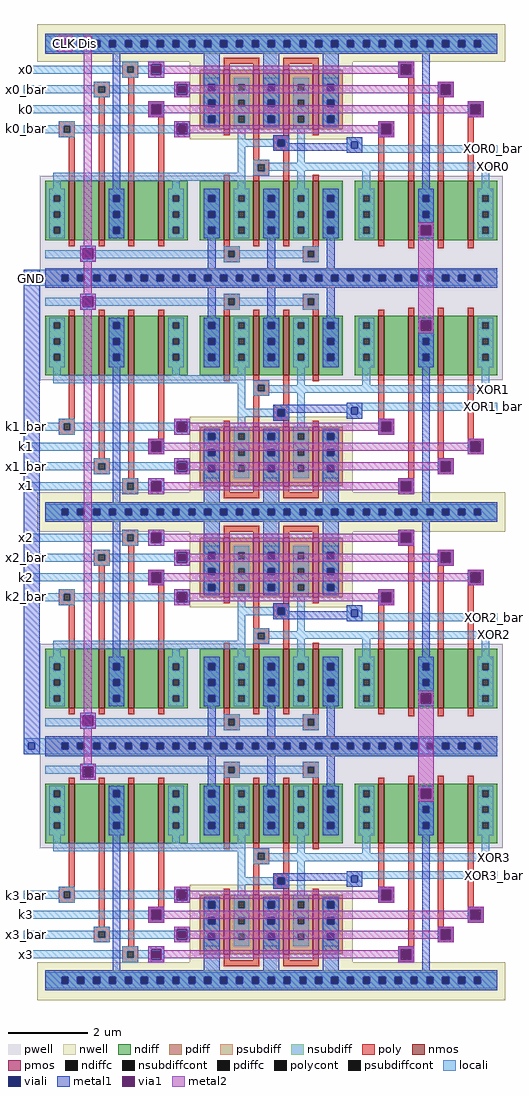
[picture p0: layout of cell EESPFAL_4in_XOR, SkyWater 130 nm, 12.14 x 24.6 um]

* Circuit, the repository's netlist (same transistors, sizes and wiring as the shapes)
* NGSPICE file created from EESPFAL_4in_XOR.ext - technology: sky130A

.subckt EESPFAL_XOR_v3 OUT A A_bar B B_bar Dis OUT_bar GND CLK
X0 CLK OUT_bar OUT CLK sky130_fd_pr__pfet_01v8 ad=2.7e+12p pd=1.26e+07u as=9e+11p ps=4.2e+06u w=1.5e+06u l=150000u M=2
X1 OUT_bar B a_n690_n412# GND sky130_fd_pr__nfet_01v8 ad=2.7e+12p pd=1.26e+07u as=9e+11p ps=4.2e+06u w=1.5e+06u l=150000u
X2 a_570_n412# B_bar OUT GND sky130_fd_pr__nfet_01v8 ad=9e+11p pd=4.2e+06u as=2.7e+12p ps=1.26e+07u w=1.5e+06u l=150000u
X3 a_n690_n412# A CLK GND sky130_fd_pr__nfet_01v8 ad=0p pd=0u as=7.5e+12p ps=3.22e+07u w=1.5e+06u l=150000u
X4 OUT_bar OUT CLK CLK sky130_fd_pr__pfet_01v8 ad=9e+11p pd=4.2e+06u as=0p ps=0u w=1.5e+06u l=150000u M=2
X5 CLK A a_570_n412# GND sky130_fd_pr__nfet_01v8 ad=0p pd=0u as=0p ps=0u w=1.5e+06u l=150000u
X6 CLK A_bar a_n990_n412# GND sky130_fd_pr__nfet_01v8 ad=0p pd=0u as=9e+11p ps=4.2e+06u w=1.5e+06u l=150000u
X7 OUT OUT_bar GND GND sky130_fd_pr__nfet_01v8 ad=0p pd=0u as=2.7e+12p ps=1.26e+07u w=1.5e+06u l=150000u
X8 a_870_n412# A_bar CLK GND sky130_fd_pr__nfet_01v8 ad=9e+11p pd=4.2e+06u as=0p ps=0u w=1.5e+06u l=150000u
X9 a_n990_n412# B_bar OUT_bar GND sky130_fd_pr__nfet_01v8 ad=0p pd=0u as=0p ps=0u w=1.5e+06u l=150000u
X10 GND OUT OUT_bar GND sky130_fd_pr__nfet_01v8 ad=0p pd=0u as=0p ps=0u w=1.5e+06u l=150000u
X11 OUT B a_870_n412# GND sky130_fd_pr__nfet_01v8 ad=0p pd=0u as=0p ps=0u w=1.5e+06u l=150000u
X12 OUT_bar Dis GND GND sky130_fd_pr__nfet_01v8 ad=0p pd=0u as=0p ps=0u w=1.5e+06u l=150000u
X13 GND Dis OUT GND sky130_fd_pr__nfet_01v8 ad=0p pd=0u as=0p ps=0u w=1.5e+06u l=150000u
.ends

.subckt EESPFAL_4in_XOR x0 x0_bar k0 k0_bar x1 x1_bar k1 k1_bar x2 x2_bar k2 k2_bar
+ x3 x3_bar k3 k3_bar XOR0_bar XOR0 XOR1_bar XOR1 XOR2_bar XOR2 XOR3_bar XOR3 GND
+ CLK Dis
XEESPFAL_XOR_v3_0 XOR3 x3 x3_bar k3 k3_bar Dis XOR3_bar GND CLK EESPFAL_XOR_v3
XEESPFAL_XOR_v3_1 XOR2 x2 x2_bar k2 k2_bar Dis XOR2_bar GND CLK EESPFAL_XOR_v3
XEESPFAL_XOR_v3_2 XOR1 x1 x1_bar k1 k1_bar Dis XOR1_bar GND CLK EESPFAL_XOR_v3
XEESPFAL_XOR_v3_3 XOR0 x0 x0_bar k0 k0_bar Dis XOR0_bar GND CLK EESPFAL_XOR_v3
.ends

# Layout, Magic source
magic
tech sky130A
magscale 1 2
<< locali >>
rect -1398 1250 -1290 1290
rect -1398 1150 -1290 1190
rect -1398 1050 -1290 1090
rect -1398 950 -1290 990
rect 960 860 980 880
rect 960 770 980 790
rect -1318 180 -1290 260
rect 961 -350 981 -330
rect 961 -440 981 -420
rect -1398 -550 -1290 -510
rect -1398 -650 -1290 -610
rect -1398 -750 -1290 -710
rect -1398 -850 -1290 -810
rect -1398 -1110 -1290 -1070
rect -1398 -1210 -1290 -1170
rect -1398 -1310 -1290 -1270
rect -1398 -1410 -1290 -1370
rect 963 -1500 983 -1480
rect 963 -1590 983 -1570
rect -1318 -2180 -1290 -2100
rect 964 -2710 984 -2690
rect 964 -2800 984 -2780
rect -1398 -2910 -1290 -2870
rect -1398 -3010 -1290 -2970
rect -1398 -3110 -1290 -3070
rect -1398 -3210 -1290 -3170
<< metal1 >>
rect -1372 206 -1344 233
rect -1398 -2100 -1318 180
<< metal2 >>
rect -1204 1386 -1176 1414
rect -1094 -2230 -1054 1440
rect 590 20 670 420
rect 590 -2340 670 -1940
use EESPFAL_XOR_v3  EESPFAL_XOR_v3_0
transform 1 0 0 0 1 0
box -1330 144 1030 1500
use EESPFAL_XOR_v3  EESPFAL_XOR_v3_1
transform 1 0 0 0 -1 440
box -1330 144 1030 1500
use EESPFAL_XOR_v3  EESPFAL_XOR_v3_2
transform 1 0 0 0 1 -2360
box -1330 144 1030 1500
use EESPFAL_XOR_v3  EESPFAL_XOR_v3_3
transform 1 0 0 0 -1 -1920
box -1330 144 1030 1500
use Li_via_M1  Li_via_M1_0
transform 1 0 -1358 0 1 218
box -40 -38 40 42
use Li_via_M1  Li_via_M1_1
transform 1 0 -1358 0 1 -2142
box -40 -38 40 42
use Li_via_M2  Li_via_M2_0
transform 1 0 -1074 0 1 98
box -40 -38 40 42
use Li_via_M2  Li_via_M2_1
transform 1 0 -1074 0 1 340
box -40 -38 40 42
use Li_via_M2  Li_via_M2_2
transform 1 0 -1074 0 1 -2014
box -40 -38 40 42
use Li_via_M2  Li_via_M2_3
transform 1 0 -1074 0 1 -2272
box -40 -38 40 42
use M1_via_M2  M1_via_M2_0
transform 1 0 -1190 0 1 1398
box -40 -38 40 42
use M1_via_M2  M1_via_M2_1
transform 1 0 630 0 1 -22
box -40 -38 40 42
use M1_via_M2  M1_via_M2_2
transform 1 0 630 0 1 458
box -40 -38 40 42
use M1_via_M2  M1_via_M2_3
transform 1 0 630 0 1 -1902
box -40 -38 40 42
use M1_via_M2  M1_via_M2_4
transform 1 0 630 0 1 -2382
box -40 -38 40 42
<< labels >>
flabel metal1 s -1372 206 -1344 233 2 FreeSans 2500 0 0 0 GND
port 1 nsew
flabel locali s -1393 1260 -1373 1280 2 FreeSans 2500 0 0 0 x0
port 2 nsew
flabel locali s -1393 1161 -1373 1181 2 FreeSans 2500 0 0 0 x0_bar
port 3 nsew
flabel locali s -1393 1060 -1373 1080 2 FreeSans 2500 0 0 0 k0
port 4 nsew
flabel locali s -1393 961 -1373 981 2 FreeSans 2500 0 0 0 k0_bar
port 5 nsew
flabel locali s -1393 -838 -1373 -818 2 FreeSans 2500 0 0 0 x1
port 6 nsew
flabel locali s -1393 -739 -1373 -719 2 FreeSans 2500 0 0 0 x1_bar
port 7 nsew
flabel locali s -1393 -638 -1373 -618 2 FreeSans 2500 0 0 0 k1
port 8 nsew
flabel locali s -1393 -539 -1373 -519 2 FreeSans 2500 0 0 0 k1_bar
port 9 nsew
flabel locali s -1393 -1099 -1373 -1079 2 FreeSans 2500 0 0 0 x2
port 10 nsew
flabel locali s -1393 -1198 -1373 -1178 2 FreeSans 2500 0 0 0 x2_bar
port 11 nsew
flabel locali s -1393 -1299 -1373 -1279 2 FreeSans 2500 0 0 0 k2
port 12 nsew
flabel locali s -1393 -1398 -1373 -1378 2 FreeSans 2500 0 0 0 k2_bar
port 13 nsew
flabel locali s -1392 -3200 -1372 -3180 2 FreeSans 2500 0 0 0 x3
port 14 nsew
flabel locali s -1392 -3101 -1372 -3081 2 FreeSans 2500 0 0 0 x3_bar
port 15 nsew
flabel locali s -1392 -3000 -1372 -2980 2 FreeSans 2500 0 0 0 k3
port 16 nsew
flabel locali s -1392 -2901 -1372 -2881 2 FreeSans 2500 0 0 0 k3_bar
port 17 nsew
flabel locali s 960 860 980 880 2 FreeSans 2500 0 0 0 XOR0_bar
port 18 nsew
flabel locali s 960 770 980 790 2 FreeSans 2500 0 0 0 XOR0
port 19 nsew
flabel locali s 961 -440 981 -420 2 FreeSans 2500 0 0 0 XOR1_bar
port 20 nsew
flabel locali s 961 -350 981 -330 2 FreeSans 2500 0 0 0 XOR1
port 21 nsew
flabel locali s 963 -1500 983 -1480 2 FreeSans 2500 0 0 0 XOR2_bar
port 22 nsew
flabel locali s 963 -1590 983 -1570 2 FreeSans 2500 0 0 0 XOR2
port 23 nsew
flabel locali s 964 -2800 984 -2780 2 FreeSans 2500 0 0 0 XOR3_bar
port 24 nsew
flabel locali s 964 -2710 984 -2690 2 FreeSans 2500 0 0 0 XOR3
port 25 nsew
flabel metal2 s -1204 1386 -1176 1414 2 FreeSans 2500 0 0 0 CLK
port 26 nsew
flabel metal2 s -1089 1384 -1059 1416 2 FreeSans 2500 0 0 0 Dis
port 27 nsew
<< end >>

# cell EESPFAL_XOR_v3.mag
magic
tech sky130A
magscale 1 2
<< nwell >>
rect -1330 1310 1030 1500
rect -560 920 260 1310
<< pwell >>
rect -1316 144 1016 736
<< nmos >>
rect -1170 410 -1140 710
rect -1020 410 -990 710
rect -870 410 -840 710
rect -720 410 -690 710
rect -390 410 -360 710
rect -240 410 -210 710
rect -90 410 -60 710
rect 60 410 90 710
rect 390 410 420 710
rect 540 410 570 710
rect 690 410 720 710
rect 840 410 870 710
<< pmos >>
rect -390 970 -360 1270
rect -240 970 -210 1270
rect -90 970 -60 1270
rect 60 970 90 1270
<< ndiff >>
rect -1290 637 -1170 710
rect -1290 603 -1247 637
rect -1213 603 -1170 637
rect -1290 557 -1170 603
rect -1290 523 -1247 557
rect -1213 523 -1170 557
rect -1290 477 -1170 523
rect -1290 443 -1247 477
rect -1213 443 -1170 477
rect -1290 410 -1170 443
rect -1140 410 -1020 710
rect -990 637 -870 710
rect -990 603 -947 637
rect -913 603 -870 637
rect -990 557 -870 603
rect -990 523 -947 557
rect -913 523 -870 557
rect -990 477 -870 523
rect -990 443 -947 477
rect -913 443 -870 477
rect -990 410 -870 443
rect -840 410 -720 710
rect -690 637 -570 710
rect -690 603 -647 637
rect -613 603 -570 637
rect -690 557 -570 603
rect -690 523 -647 557
rect -613 523 -570 557
rect -690 477 -570 523
rect -690 443 -647 477
rect -613 443 -570 477
rect -690 410 -570 443
rect -510 637 -390 710
rect -510 603 -467 637
rect -433 603 -390 637
rect -510 557 -390 603
rect -510 523 -467 557
rect -433 523 -390 557
rect -510 477 -390 523
rect -510 443 -467 477
rect -433 443 -390 477
rect -510 410 -390 443
rect -360 637 -240 710
rect -360 603 -317 637
rect -283 603 -240 637
rect -360 557 -240 603
rect -360 523 -317 557
rect -283 523 -240 557
rect -360 477 -240 523
rect -360 443 -317 477
rect -283 443 -240 477
rect -360 410 -240 443
rect -210 637 -90 710
rect -210 603 -167 637
rect -133 603 -90 637
rect -210 557 -90 603
rect -210 523 -167 557
rect -133 523 -90 557
rect -210 477 -90 523
rect -210 443 -167 477
rect -133 443 -90 477
rect -210 410 -90 443
rect -60 637 60 710
rect -60 603 -17 637
rect 17 603 60 637
rect -60 557 60 603
rect -60 523 -17 557
rect 17 523 60 557
rect -60 477 60 523
rect -60 443 -17 477
rect 17 443 60 477
rect -60 410 60 443
rect 90 637 210 710
rect 90 603 133 637
rect 167 603 210 637
rect 90 557 210 603
rect 90 523 133 557
rect 167 523 210 557
rect 90 477 210 523
rect 90 443 133 477
rect 167 443 210 477
rect 90 410 210 443
rect 270 637 390 710
rect 270 603 313 637
rect 347 603 390 637
rect 270 557 390 603
rect 270 523 313 557
rect 347 523 390 557
rect 270 477 390 523
rect 270 443 313 477
rect 347 443 390 477
rect 270 410 390 443
rect 420 410 540 710
rect 570 637 690 710
rect 570 603 613 637
rect 647 603 690 637
rect 570 557 690 603
rect 570 523 613 557
rect 647 523 690 557
rect 570 477 690 523
rect 570 443 613 477
rect 647 443 690 477
rect 570 410 690 443
rect 720 410 840 710
rect 870 637 990 710
rect 870 603 913 637
rect 947 603 990 637
rect 870 557 990 603
rect 870 523 913 557
rect 947 523 990 557
rect 870 477 990 523
rect 870 443 913 477
rect 947 443 990 477
rect 870 410 990 443
<< pdiff >>
rect -510 1197 -390 1270
rect -510 1163 -467 1197
rect -433 1163 -390 1197
rect -510 1117 -390 1163
rect -510 1083 -467 1117
rect -433 1083 -390 1117
rect -510 1037 -390 1083
rect -510 1003 -467 1037
rect -433 1003 -390 1037
rect -510 970 -390 1003
rect -360 1197 -240 1270
rect -360 1163 -317 1197
rect -283 1163 -240 1197
rect -360 1117 -240 1163
rect -360 1083 -317 1117
rect -283 1083 -240 1117
rect -360 1037 -240 1083
rect -360 1003 -317 1037
rect -283 1003 -240 1037
rect -360 970 -240 1003
rect -210 1197 -90 1270
rect -210 1163 -167 1197
rect -133 1163 -90 1197
rect -210 1117 -90 1163
rect -210 1083 -167 1117
rect -133 1083 -90 1117
rect -210 1037 -90 1083
rect -210 1003 -167 1037
rect -133 1003 -90 1037
rect -210 970 -90 1003
rect -60 1197 60 1270
rect -60 1163 -17 1197
rect 17 1163 60 1197
rect -60 1117 60 1163
rect -60 1083 -17 1117
rect 17 1083 60 1117
rect -60 1037 60 1083
rect -60 1003 -17 1037
rect 17 1003 60 1037
rect -60 970 60 1003
rect 90 1197 210 1270
rect 90 1163 133 1197
rect 167 1163 210 1197
rect 90 1117 210 1163
rect 90 1083 133 1117
rect 167 1083 210 1117
rect 90 1037 210 1083
rect 90 1003 133 1037
rect 167 1003 210 1037
rect 90 970 210 1003
<< ndiffc >>
rect -1247 603 -1213 637
rect -1247 523 -1213 557
rect -1247 443 -1213 477
rect -947 603 -913 637
rect -947 523 -913 557
rect -947 443 -913 477
rect -647 603 -613 637
rect -647 523 -613 557
rect -647 443 -613 477
rect -467 603 -433 637
rect -467 523 -433 557
rect -467 443 -433 477
rect -317 603 -283 637
rect -317 523 -283 557
rect -317 443 -283 477
rect -167 603 -133 637
rect -167 523 -133 557
rect -167 443 -133 477
rect -17 603 17 637
rect -17 523 17 557
rect -17 443 17 477
rect 133 603 167 637
rect 133 523 167 557
rect 133 443 167 477
rect 313 603 347 637
rect 313 523 347 557
rect 313 443 347 477
rect 613 603 647 637
rect 613 523 647 557
rect 613 443 647 477
rect 913 603 947 637
rect 913 523 947 557
rect 913 443 947 477
<< pdiffc >>
rect -467 1163 -433 1197
rect -467 1083 -433 1117
rect -467 1003 -433 1037
rect -317 1163 -283 1197
rect -317 1083 -283 1117
rect -317 1003 -283 1037
rect -167 1163 -133 1197
rect -167 1083 -133 1117
rect -167 1003 -133 1037
rect -17 1163 17 1197
rect -17 1083 17 1117
rect -17 1003 17 1037
rect 133 1163 167 1197
rect 133 1083 167 1117
rect 133 1003 167 1037
<< psubdiff >>
rect -1290 237 990 270
rect -1290 203 -1207 237
rect -1173 203 -1127 237
rect -1093 203 -1047 237
rect -1013 203 -967 237
rect -933 203 -887 237
rect -853 203 -807 237
rect -773 203 -727 237
rect -693 203 -647 237
rect -613 203 -567 237
rect -533 203 -487 237
rect -453 203 -407 237
rect -373 203 -327 237
rect -293 203 -247 237
rect -213 203 -167 237
rect -133 203 -87 237
rect -53 203 -7 237
rect 27 203 73 237
rect 107 203 153 237
rect 187 203 233 237
rect 267 203 313 237
rect 347 203 393 237
rect 427 203 473 237
rect 507 203 553 237
rect 587 203 633 237
rect 667 203 713 237
rect 747 203 793 237
rect 827 203 873 237
rect 907 203 990 237
rect -1290 170 990 203
<< nsubdiff >>
rect -1290 1417 990 1450
rect -1290 1383 -1207 1417
rect -1173 1383 -1127 1417
rect -1093 1383 -1047 1417
rect -1013 1383 -967 1417
rect -933 1383 -887 1417
rect -853 1383 -807 1417
rect -773 1383 -727 1417
rect -693 1383 -647 1417
rect -613 1383 -567 1417
rect -533 1383 -487 1417
rect -453 1383 -407 1417
rect -373 1383 -327 1417
rect -293 1383 -247 1417
rect -213 1383 -167 1417
rect -133 1383 -87 1417
rect -53 1383 -7 1417
rect 27 1383 73 1417
rect 107 1383 153 1417
rect 187 1383 233 1417
rect 267 1383 313 1417
rect 347 1383 393 1417
rect 427 1383 473 1417
rect 507 1383 553 1417
rect 587 1383 633 1417
rect 667 1383 713 1417
rect 747 1383 793 1417
rect 827 1383 873 1417
rect 907 1383 990 1417
rect -1290 1350 990 1383
<< psubdiffcont >>
rect -1207 203 -1173 237
rect -1127 203 -1093 237
rect -1047 203 -1013 237
rect -967 203 -933 237
rect -887 203 -853 237
rect -807 203 -773 237
rect -727 203 -693 237
rect -647 203 -613 237
rect -567 203 -533 237
rect -487 203 -453 237
rect -407 203 -373 237
rect -327 203 -293 237
rect -247 203 -213 237
rect -167 203 -133 237
rect -87 203 -53 237
rect -7 203 27 237
rect 73 203 107 237
rect 153 203 187 237
rect 233 203 267 237
rect 313 203 347 237
rect 393 203 427 237
rect 473 203 507 237
rect 553 203 587 237
rect 633 203 667 237
rect 713 203 747 237
rect 793 203 827 237
rect 873 203 907 237
<< nsubdiffcont >>
rect -1207 1383 -1173 1417
rect -1127 1383 -1093 1417
rect -1047 1383 -1013 1417
rect -967 1383 -933 1417
rect -887 1383 -853 1417
rect -807 1383 -773 1417
rect -727 1383 -693 1417
rect -647 1383 -613 1417
rect -567 1383 -533 1417
rect -487 1383 -453 1417
rect -407 1383 -373 1417
rect -327 1383 -293 1417
rect -247 1383 -213 1417
rect -167 1383 -133 1417
rect -87 1383 -53 1417
rect -7 1383 27 1417
rect 73 1383 107 1417
rect 153 1383 187 1417
rect 233 1383 267 1417
rect 313 1383 347 1417
rect 393 1383 427 1417
rect 473 1383 507 1417
rect 553 1383 587 1417
rect 633 1383 667 1417
rect 713 1383 747 1417
rect 793 1383 827 1417
rect 873 1383 907 1417
<< poly >>
rect -900 1287 -820 1310
rect -900 1253 -877 1287
rect -843 1253 -820 1287
rect -390 1300 -210 1330
rect -390 1270 -360 1300
rect -240 1270 -210 1300
rect -90 1300 90 1330
rect -90 1270 -60 1300
rect 60 1270 90 1300
rect 490 1287 570 1310
rect -900 1230 -820 1253
rect -1045 1187 -965 1210
rect -1045 1153 -1022 1187
rect -988 1153 -965 1187
rect -1045 1130 -965 1153
rect -1220 987 -1140 1010
rect -1220 953 -1197 987
rect -1163 953 -1140 987
rect -1220 930 -1140 953
rect -1170 710 -1140 930
rect -1020 710 -990 1130
rect -870 710 -840 1230
rect -770 1087 -690 1110
rect -770 1053 -747 1087
rect -713 1053 -690 1087
rect -770 1030 -690 1053
rect -720 710 -690 1030
rect 490 1253 513 1287
rect 547 1253 570 1287
rect 490 1230 570 1253
rect 390 987 470 1010
rect -390 940 -360 970
rect -240 815 -210 970
rect -90 940 -60 970
rect 60 940 90 970
rect 390 953 413 987
rect 447 953 470 987
rect -140 917 -60 940
rect -140 883 -117 917
rect -83 883 -60 917
rect -140 860 -60 883
rect -240 792 -160 815
rect -240 758 -217 792
rect -183 758 -160 792
rect -390 710 -360 740
rect -240 735 -160 758
rect -240 710 -210 735
rect -90 710 -60 860
rect 390 930 470 953
rect 60 710 90 740
rect 390 710 420 930
rect 540 710 570 1230
rect 690 1187 770 1210
rect 690 1153 713 1187
rect 747 1153 770 1187
rect 690 1130 770 1153
rect 690 710 720 1130
rect 840 1087 920 1110
rect 840 1053 863 1087
rect 897 1053 920 1087
rect 840 1030 920 1053
rect 840 710 870 1030
rect -1170 380 -1140 410
rect -1020 380 -990 410
rect -870 380 -840 410
rect -720 380 -690 410
rect -390 380 -360 410
rect -240 380 -210 410
rect -90 380 -60 410
rect 60 380 90 410
rect 390 380 420 410
rect -390 357 -310 380
rect -390 323 -367 357
rect -333 323 -310 357
rect -390 300 -310 323
rect 10 357 90 380
rect 540 370 570 410
rect 690 370 720 410
rect 840 370 870 410
rect 10 323 33 357
rect 67 323 90 357
rect 10 300 90 323
<< polycont >>
rect -877 1253 -843 1287
rect -1022 1153 -988 1187
rect -1197 953 -1163 987
rect -747 1053 -713 1087
rect 513 1253 547 1287
rect 413 953 447 987
rect -117 883 -83 917
rect -217 758 -183 792
rect 713 1153 747 1187
rect 863 1053 897 1087
rect -367 323 -333 357
rect 33 323 67 357
<< locali >>
rect -1290 1417 990 1440
rect -1290 1383 -1207 1417
rect -1173 1383 -1127 1417
rect -1093 1383 -1047 1417
rect -1013 1383 -967 1417
rect -933 1383 -887 1417
rect -853 1383 -807 1417
rect -773 1383 -727 1417
rect -693 1383 -647 1417
rect -613 1383 -567 1417
rect -533 1383 -487 1417
rect -453 1383 -407 1417
rect -373 1383 -327 1417
rect -293 1383 -247 1417
rect -213 1383 -167 1417
rect -133 1383 -87 1417
rect -53 1383 -7 1417
rect 27 1383 73 1417
rect 107 1383 153 1417
rect 187 1383 233 1417
rect 267 1383 313 1417
rect 347 1383 393 1417
rect 427 1383 473 1417
rect 507 1383 553 1417
rect 587 1383 633 1417
rect 667 1383 713 1417
rect 747 1383 793 1417
rect 827 1383 873 1417
rect 907 1383 990 1417
rect -1290 1360 990 1383
rect -900 1290 -820 1310
rect -770 1290 -690 1310
rect -1290 1287 -690 1290
rect -1290 1253 -877 1287
rect -843 1253 -747 1287
rect -713 1253 -690 1287
rect -1290 1250 -690 1253
rect -900 1230 -820 1250
rect -770 1230 -690 1250
rect 490 1287 570 1310
rect 490 1253 513 1287
rect 547 1253 570 1287
rect 490 1230 570 1253
rect -1045 1190 -965 1210
rect -640 1190 -560 1210
rect -1290 1187 -560 1190
rect -1290 1153 -1022 1187
rect -988 1153 -617 1187
rect -583 1153 -560 1187
rect -1290 1150 -560 1153
rect -1045 1130 -965 1150
rect -640 1130 -560 1150
rect -490 1197 -410 1230
rect -490 1163 -467 1197
rect -433 1163 -410 1197
rect -490 1117 -410 1163
rect -770 1090 -690 1110
rect -1290 1087 -690 1090
rect -1290 1053 -747 1087
rect -713 1053 -690 1087
rect -1290 1050 -690 1053
rect -770 1030 -690 1050
rect -490 1083 -467 1117
rect -433 1083 -410 1117
rect -490 1037 -410 1083
rect -1220 990 -1140 1010
rect -640 990 -560 1010
rect -1290 987 -560 990
rect -1290 953 -1197 987
rect -1163 953 -617 987
rect -583 953 -560 987
rect -490 1003 -467 1037
rect -433 1003 -410 1037
rect -490 980 -410 1003
rect -340 1197 -260 1230
rect -340 1163 -317 1197
rect -283 1163 -260 1197
rect -340 1117 -260 1163
rect -340 1083 -317 1117
rect -283 1083 -260 1117
rect -340 1037 -260 1083
rect -340 1003 -317 1037
rect -283 1003 -260 1037
rect -340 970 -260 1003
rect -190 1197 -110 1230
rect -190 1163 -167 1197
rect -133 1163 -110 1197
rect -190 1117 -110 1163
rect -190 1083 -167 1117
rect -133 1083 -110 1117
rect -190 1037 -110 1083
rect -190 1003 -167 1037
rect -133 1003 -110 1037
rect -190 980 -110 1003
rect -40 1197 40 1230
rect -40 1163 -17 1197
rect 17 1163 40 1197
rect -40 1117 40 1163
rect -40 1083 -17 1117
rect 17 1083 40 1117
rect -40 1037 40 1083
rect -40 1003 -17 1037
rect 17 1003 40 1037
rect -40 970 40 1003
rect 110 1197 190 1230
rect 110 1163 133 1197
rect 167 1163 190 1197
rect 110 1117 190 1163
rect 690 1187 770 1210
rect 690 1153 713 1187
rect 747 1153 770 1187
rect 690 1130 770 1153
rect 110 1083 133 1117
rect 167 1083 190 1117
rect 110 1037 190 1083
rect 110 1003 133 1037
rect 167 1003 190 1037
rect 840 1087 920 1110
rect 840 1053 863 1087
rect 897 1053 920 1087
rect 840 1030 920 1053
rect 110 980 190 1003
rect 390 987 470 1010
rect -1290 950 -560 953
rect -1220 930 -1140 950
rect -640 930 -560 950
rect -320 920 -280 970
rect -140 920 -60 940
rect -320 917 -60 920
rect -320 883 -117 917
rect -83 883 -60 917
rect -320 880 -60 883
rect -320 750 -280 880
rect -140 860 -60 880
rect -1250 710 -280 750
rect -240 800 -160 815
rect -20 800 20 970
rect 390 953 413 987
rect 447 953 470 987
rect 390 930 470 953
rect 230 907 310 930
rect 230 873 253 907
rect 287 890 310 907
rect 287 873 990 890
rect 230 850 990 873
rect -240 792 990 800
rect -240 758 -217 792
rect -183 760 990 792
rect -183 758 -160 760
rect -240 735 -160 758
rect -1250 670 -1210 710
rect -650 670 -610 710
rect -320 670 -280 710
rect -20 670 20 760
rect 310 670 350 760
rect 910 670 950 760
rect -1270 637 -1190 670
rect -1270 603 -1247 637
rect -1213 603 -1190 637
rect -1270 557 -1190 603
rect -1270 523 -1247 557
rect -1213 523 -1190 557
rect -1270 477 -1190 523
rect -1270 443 -1247 477
rect -1213 443 -1190 477
rect -1270 420 -1190 443
rect -970 637 -890 670
rect -970 603 -947 637
rect -913 603 -890 637
rect -970 557 -890 603
rect -970 523 -947 557
rect -913 523 -890 557
rect -970 477 -890 523
rect -970 443 -947 477
rect -913 443 -890 477
rect -970 420 -890 443
rect -670 637 -590 670
rect -670 603 -647 637
rect -613 603 -590 637
rect -670 557 -590 603
rect -670 523 -647 557
rect -613 523 -590 557
rect -670 477 -590 523
rect -670 443 -647 477
rect -613 443 -590 477
rect -670 420 -590 443
rect -490 637 -410 670
rect -490 603 -467 637
rect -433 603 -410 637
rect -490 557 -410 603
rect -490 523 -467 557
rect -433 523 -410 557
rect -490 477 -410 523
rect -490 443 -467 477
rect -433 443 -410 477
rect -490 420 -410 443
rect -340 637 -260 670
rect -340 603 -317 637
rect -283 603 -260 637
rect -340 557 -260 603
rect -340 523 -317 557
rect -283 523 -260 557
rect -340 477 -260 523
rect -340 443 -317 477
rect -283 443 -260 477
rect -340 420 -260 443
rect -190 637 -110 670
rect -190 603 -167 637
rect -133 603 -110 637
rect -190 557 -110 603
rect -190 523 -167 557
rect -133 523 -110 557
rect -190 477 -110 523
rect -190 443 -167 477
rect -133 443 -110 477
rect -190 420 -110 443
rect -40 637 40 670
rect -40 603 -17 637
rect 17 603 40 637
rect -40 557 40 603
rect -40 523 -17 557
rect 17 523 40 557
rect -40 477 40 523
rect -40 443 -17 477
rect 17 443 40 477
rect -40 420 40 443
rect 110 637 190 670
rect 110 603 133 637
rect 167 603 190 637
rect 110 557 190 603
rect 110 523 133 557
rect 167 523 190 557
rect 110 477 190 523
rect 110 443 133 477
rect 167 443 190 477
rect 110 420 190 443
rect 290 637 370 670
rect 290 603 313 637
rect 347 603 370 637
rect 290 557 370 603
rect 290 523 313 557
rect 347 523 370 557
rect 290 477 370 523
rect 290 443 313 477
rect 347 443 370 477
rect 290 420 370 443
rect 590 637 670 670
rect 590 603 613 637
rect 647 603 670 637
rect 590 557 670 603
rect 590 523 613 557
rect 647 523 670 557
rect 590 477 670 523
rect 590 443 613 477
rect 647 443 670 477
rect 590 420 670 443
rect 890 637 970 670
rect 890 603 913 637
rect 947 603 970 637
rect 890 557 970 603
rect 890 523 913 557
rect 947 523 970 557
rect 890 477 970 523
rect 890 443 913 477
rect 947 443 970 477
rect 890 420 970 443
rect -390 360 -310 380
rect 10 360 90 380
rect -1290 357 90 360
rect -1290 323 -367 357
rect -333 323 33 357
rect 67 323 90 357
rect -1290 320 90 323
rect -390 300 -310 320
rect 10 300 90 320
rect -1290 237 990 260
rect -1290 203 -1207 237
rect -1173 203 -1127 237
rect -1093 203 -1047 237
rect -1013 203 -967 237
rect -933 203 -887 237
rect -853 203 -807 237
rect -773 203 -727 237
rect -693 203 -647 237
rect -613 203 -567 237
rect -533 203 -487 237
rect -453 203 -407 237
rect -373 203 -327 237
rect -293 203 -247 237
rect -213 203 -167 237
rect -133 203 -87 237
rect -53 203 -7 237
rect 27 203 73 237
rect 107 203 153 237
rect 187 203 233 237
rect 267 203 313 237
rect 347 203 393 237
rect 427 203 473 237
rect 507 203 553 237
rect 587 203 633 237
rect 667 203 713 237
rect 747 203 793 237
rect 827 203 873 237
rect 907 203 990 237
rect -1290 180 990 203
<< viali >>
rect -1207 1383 -1173 1417
rect -1127 1383 -1093 1417
rect -1047 1383 -1013 1417
rect -967 1383 -933 1417
rect -887 1383 -853 1417
rect -807 1383 -773 1417
rect -727 1383 -693 1417
rect -647 1383 -613 1417
rect -567 1383 -533 1417
rect -487 1383 -453 1417
rect -407 1383 -373 1417
rect -327 1383 -293 1417
rect -247 1383 -213 1417
rect -167 1383 -133 1417
rect -87 1383 -53 1417
rect -7 1383 27 1417
rect 73 1383 107 1417
rect 153 1383 187 1417
rect 233 1383 267 1417
rect 313 1383 347 1417
rect 393 1383 427 1417
rect 473 1383 507 1417
rect 553 1383 587 1417
rect 633 1383 667 1417
rect 713 1383 747 1417
rect 793 1383 827 1417
rect 873 1383 907 1417
rect -747 1253 -713 1287
rect 513 1253 547 1287
rect -617 1153 -583 1187
rect -467 1163 -433 1197
rect -747 1053 -713 1087
rect -467 1083 -433 1117
rect -617 953 -583 987
rect -467 1003 -433 1037
rect -167 1163 -133 1197
rect -167 1083 -133 1117
rect -167 1003 -133 1037
rect 133 1163 167 1197
rect 713 1153 747 1187
rect 133 1083 167 1117
rect 133 1003 167 1037
rect 863 1053 897 1087
rect -117 883 -83 917
rect 413 953 447 987
rect 253 873 287 907
rect -947 603 -913 637
rect -947 523 -913 557
rect -947 443 -913 477
rect -467 603 -433 637
rect -467 523 -433 557
rect -467 443 -433 477
rect -167 603 -133 637
rect -167 523 -133 557
rect -167 443 -133 477
rect 133 603 167 637
rect 133 523 167 557
rect 133 443 167 477
rect 613 603 647 637
rect 613 523 647 557
rect 613 443 647 477
rect -1207 203 -1173 237
rect -1127 203 -1093 237
rect -1047 203 -1013 237
rect -967 203 -933 237
rect -887 203 -853 237
rect -807 203 -773 237
rect -727 203 -693 237
rect -647 203 -613 237
rect -567 203 -533 237
rect -487 203 -453 237
rect -407 203 -373 237
rect -327 203 -293 237
rect -247 203 -213 237
rect -167 203 -133 237
rect -87 203 -53 237
rect -7 203 27 237
rect 73 203 107 237
rect 153 203 187 237
rect 233 203 267 237
rect 313 203 347 237
rect 393 203 427 237
rect 473 203 507 237
rect 553 203 587 237
rect 633 203 667 237
rect 713 203 747 237
rect 793 203 827 237
rect 873 203 907 237
<< metal1 >>
rect -1290 1417 990 1450
rect -1290 1383 -1207 1417
rect -1173 1383 -1127 1417
rect -1093 1383 -1047 1417
rect -1013 1383 -967 1417
rect -933 1383 -887 1417
rect -853 1383 -807 1417
rect -773 1383 -727 1417
rect -693 1383 -647 1417
rect -613 1383 -567 1417
rect -533 1383 -487 1417
rect -453 1383 -407 1417
rect -373 1383 -327 1417
rect -293 1383 -247 1417
rect -213 1383 -167 1417
rect -133 1383 -87 1417
rect -53 1383 -7 1417
rect 27 1383 73 1417
rect 107 1383 153 1417
rect 187 1383 233 1417
rect 267 1383 313 1417
rect 347 1383 393 1417
rect 427 1383 473 1417
rect 507 1383 553 1417
rect 587 1383 633 1417
rect 667 1383 713 1417
rect 747 1383 793 1417
rect 827 1383 873 1417
rect 907 1383 990 1417
rect -1290 1350 990 1383
rect -950 670 -910 1350
rect -770 1296 -690 1310
rect -770 1244 -756 1296
rect -704 1244 -690 1296
rect -770 1230 -690 1244
rect -640 1196 -560 1210
rect -640 1144 -626 1196
rect -574 1144 -560 1196
rect -640 1130 -560 1144
rect -490 1197 -410 1350
rect -490 1163 -467 1197
rect -433 1163 -410 1197
rect -490 1117 -410 1163
rect -770 1096 -690 1110
rect -770 1044 -756 1096
rect -704 1044 -690 1096
rect -770 1030 -690 1044
rect -490 1083 -467 1117
rect -433 1083 -410 1117
rect -490 1037 -410 1083
rect -640 996 -560 1010
rect -640 944 -626 996
rect -574 944 -560 996
rect -490 1003 -467 1037
rect -433 1003 -410 1037
rect -490 980 -410 1003
rect -190 1197 -110 1350
rect -190 1163 -167 1197
rect -133 1163 -110 1197
rect -190 1117 -110 1163
rect -190 1083 -167 1117
rect -133 1083 -110 1117
rect -190 1037 -110 1083
rect -190 1003 -167 1037
rect -133 1003 -110 1037
rect -190 980 -110 1003
rect 110 1197 190 1350
rect 490 1296 570 1310
rect 490 1244 504 1296
rect 556 1244 570 1296
rect 490 1230 570 1244
rect 110 1163 133 1197
rect 167 1163 190 1197
rect 110 1117 190 1163
rect 110 1083 133 1117
rect 167 1083 190 1117
rect 110 1037 190 1083
rect 110 1003 133 1037
rect 167 1003 190 1037
rect 110 980 190 1003
rect 390 996 470 1010
rect -640 930 -560 944
rect 390 944 404 996
rect 456 944 470 996
rect -140 917 -60 940
rect 390 930 470 944
rect -140 883 -117 917
rect -83 900 -60 917
rect 230 907 310 930
rect 230 900 253 907
rect -83 883 253 900
rect -140 873 253 883
rect 287 873 310 907
rect -140 860 310 873
rect 230 850 310 860
rect 610 670 650 1350
rect 690 1196 770 1210
rect 690 1144 704 1196
rect 756 1144 770 1196
rect 690 1130 770 1144
rect 840 1096 920 1110
rect 840 1044 854 1096
rect 906 1044 920 1096
rect 840 1030 920 1044
rect -970 637 -890 670
rect -970 603 -947 637
rect -913 603 -890 637
rect -970 557 -890 603
rect -970 523 -947 557
rect -913 523 -890 557
rect -970 477 -890 523
rect -970 443 -947 477
rect -913 443 -890 477
rect -970 420 -890 443
rect -490 637 -410 670
rect -490 603 -467 637
rect -433 603 -410 637
rect -490 557 -410 603
rect -490 523 -467 557
rect -433 523 -410 557
rect -490 477 -410 523
rect -490 443 -467 477
rect -433 443 -410 477
rect -490 420 -410 443
rect -190 637 -110 670
rect -190 603 -167 637
rect -133 603 -110 637
rect -190 557 -110 603
rect -190 523 -167 557
rect -133 523 -110 557
rect -190 477 -110 523
rect -190 443 -167 477
rect -133 443 -110 477
rect -190 420 -110 443
rect 110 637 190 670
rect 110 603 133 637
rect 167 603 190 637
rect 110 557 190 603
rect 110 523 133 557
rect 167 523 190 557
rect 110 477 190 523
rect 110 443 133 477
rect 167 443 190 477
rect 110 420 190 443
rect 590 637 670 670
rect 590 603 613 637
rect 647 603 670 637
rect 590 557 670 603
rect 590 523 613 557
rect 647 523 670 557
rect 590 477 670 523
rect 590 443 613 477
rect 647 443 670 477
rect 590 420 670 443
rect -470 270 -430 420
rect -170 270 -130 420
rect 130 270 170 420
rect -1290 237 990 270
rect -1290 203 -1207 237
rect -1173 203 -1127 237
rect -1093 203 -1047 237
rect -1013 203 -967 237
rect -933 203 -887 237
rect -853 203 -807 237
rect -773 203 -727 237
rect -693 203 -647 237
rect -613 203 -567 237
rect -533 203 -487 237
rect -453 203 -407 237
rect -373 203 -327 237
rect -293 203 -247 237
rect -213 203 -167 237
rect -133 203 -87 237
rect -53 203 -7 237
rect 27 203 73 237
rect 107 203 153 237
rect 187 203 233 237
rect 267 203 313 237
rect 347 203 393 237
rect 427 203 473 237
rect 507 203 553 237
rect 587 203 633 237
rect 667 203 713 237
rect 747 203 793 237
rect 827 203 873 237
rect 907 203 990 237
rect -1290 170 990 203
<< via1 >>
rect -756 1287 -704 1296
rect -756 1253 -747 1287
rect -747 1253 -713 1287
rect -713 1253 -704 1287
rect -756 1244 -704 1253
rect -626 1187 -574 1196
rect -626 1153 -617 1187
rect -617 1153 -583 1187
rect -583 1153 -574 1187
rect -626 1144 -574 1153
rect -756 1087 -704 1096
rect -756 1053 -747 1087
rect -747 1053 -713 1087
rect -713 1053 -704 1087
rect -756 1044 -704 1053
rect -626 987 -574 996
rect -626 953 -617 987
rect -617 953 -583 987
rect -583 953 -574 987
rect -626 944 -574 953
rect 504 1287 556 1296
rect 504 1253 513 1287
rect 513 1253 547 1287
rect 547 1253 556 1287
rect 504 1244 556 1253
rect 404 987 456 996
rect 404 953 413 987
rect 413 953 447 987
rect 447 953 456 987
rect 404 944 456 953
rect 704 1187 756 1196
rect 704 1153 713 1187
rect 713 1153 747 1187
rect 747 1153 756 1187
rect 704 1144 756 1153
rect 854 1087 906 1096
rect 854 1053 863 1087
rect 863 1053 897 1087
rect 897 1053 906 1087
rect 854 1044 906 1053
<< metal2 >>
rect -770 1296 -690 1310
rect -770 1244 -756 1296
rect -704 1290 -690 1296
rect 490 1296 570 1310
rect 490 1290 504 1296
rect -704 1250 504 1290
rect -704 1244 -690 1250
rect -770 1230 -690 1244
rect 490 1244 504 1250
rect 556 1244 570 1296
rect 490 1230 570 1244
rect -640 1196 -560 1210
rect -640 1144 -626 1196
rect -574 1190 -560 1196
rect 690 1196 770 1210
rect 690 1190 704 1196
rect -574 1150 704 1190
rect -574 1144 -560 1150
rect -640 1130 -560 1144
rect 690 1144 704 1150
rect 756 1144 770 1196
rect 690 1130 770 1144
rect -770 1096 -690 1110
rect -770 1044 -756 1096
rect -704 1090 -690 1096
rect 840 1096 920 1110
rect 840 1090 854 1096
rect -704 1050 854 1090
rect -704 1044 -690 1050
rect -770 1030 -690 1044
rect 840 1044 854 1050
rect 906 1044 920 1096
rect 840 1030 920 1044
rect -640 996 -560 1010
rect -640 944 -626 996
rect -574 990 -560 996
rect 390 996 470 1010
rect 390 990 404 996
rect -574 950 404 990
rect -574 944 -560 950
rect -640 930 -560 944
rect 390 944 404 950
rect 456 944 470 996
rect 390 930 470 944
<< labels >>
rlabel metal1 s -120 880 -80 920 4 OUT_bar
port 1 nsew
rlabel metal1 s -170 200 -130 240 4 GND!
port 2 nsew
rlabel metal1 s -170 1380 -130 1420 4 CLK
port 3 nsew
rlabel locali s -220 755 -180 795 4 OUT
port 4 nsew
rlabel locali s -1280 1260 -1260 1280 4 A
port 5 nsew
rlabel locali s -1280 1160 -1260 1180 4 A_bar
port 6 nsew
rlabel locali s -1280 1060 -1260 1080 4 B
port 7 nsew
rlabel locali s -1280 960 -1260 980 4 B_bar
port 8 nsew
rlabel locali s -370 320 -330 360 4 Dis
port 9 nsew
<< end >>

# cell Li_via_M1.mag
magic
tech sky130A
magscale 1 2
<< locali >>
rect -40 19 40 42
rect -40 -15 -17 19
rect 17 -15 40 19
rect -40 -38 40 -15
<< viali >>
rect -17 -15 17 19
<< metal1 >>
rect -40 19 40 42
rect -40 -15 -17 19
rect 17 -15 40 19
rect -40 -38 40 -15
<< end >>

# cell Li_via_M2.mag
magic
tech sky130A
magscale 1 2
<< locali >>
rect -40 19 40 42
rect -40 -15 -17 19
rect 17 -15 40 19
rect -40 -38 40 -15
<< viali >>
rect -17 -15 17 19
<< metal1 >>
rect -40 28 40 42
rect -40 -24 -26 28
rect 26 -24 40 28
rect -40 -38 40 -24
<< via1 >>
rect -26 19 26 28
rect -26 -15 -17 19
rect -17 -15 17 19
rect 17 -15 26 19
rect -26 -24 26 -15
<< metal2 >>
rect -40 28 40 42
rect -40 -24 -26 28
rect 26 -24 40 28
rect -40 -38 40 -24
<< end >>

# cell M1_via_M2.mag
magic
tech sky130A
<< metal1 >>
rect -20 14 20 21
rect -20 -12 -13 14
rect 13 -12 20 14
rect -20 -19 20 -12
<< via1 >>
rect -13 -12 13 14
<< metal2 >>
rect -20 14 20 21
rect -20 -12 -13 14
rect 13 -12 20 14
rect -20 -19 20 -12
<< end >>
